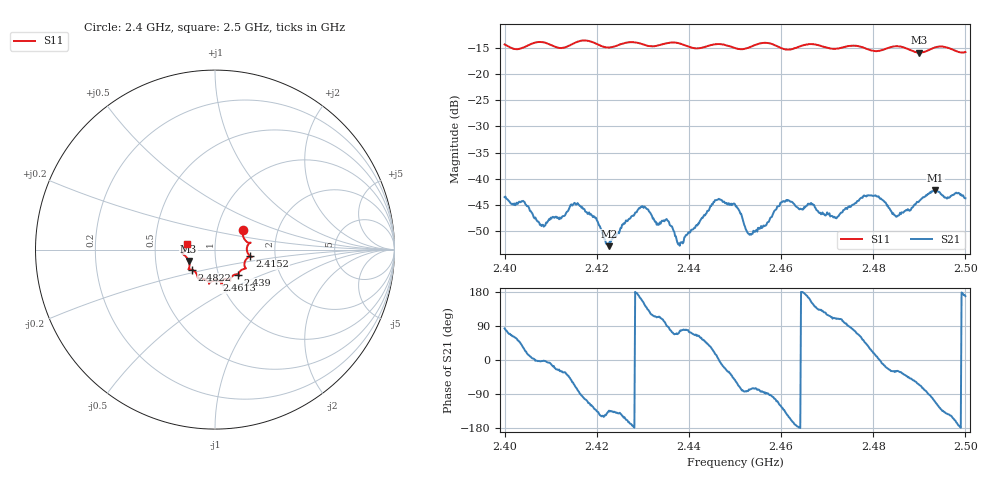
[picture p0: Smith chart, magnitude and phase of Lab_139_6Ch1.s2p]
# Hz S RI R 50
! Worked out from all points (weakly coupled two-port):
!   601 points, 2.4 GHz to 2.5 GHz, reference 50 ohm
!   highest |S21| = -42.12 dB at 2.4935 GHz (marker M1); lowest = -52.9 dB at 2.4227 GHz (marker M2)
!   lowest |S11| = -15.9 dB at 2.49 GHz (marker M3), VSWR 1.38, Z = 36.9 - j4.81 ohm
!   |S11| at or under -10 dB: start of sweep to end of sweep
!   S12 and S22 are empty: the file has one direction only
!   S11 on the Smith chart (normalised r, x): 2.4 GHz: 1.33, +0.31; 2.4152 GHz: 1.48, -0.11; 2.439 GHz: 1.24, -0.36; 2.4613 GHz: 0.96, -0.34; 2.4822 GHz: 0.75, -0.17; 2.5 GHz: 0.72, +0.05
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2.4e9  0.1562 0.1114  0.000786 0.00664  0 0  0 0
2.404167e9  0.1738 0.0465  0.00522 0.00308  0 0  0 0
2.408167e9  0.1979 0.0392  0.00363 -0.000172  0 0  0 0
2.415167e9  0.1945 -0.0361  0.00238 -0.00539  0 0  0 0
2.416667e9  0.2042 -0.0418  -0.000331 -0.0053  0 0  0 0
2.422667e9  0.1658 -0.0679  -0.00157 -0.00165  0 0  0 0
2.4295e9  0.1637 -0.1066  -0.00513 0.00157  0 0  0 0
2.433333e9  0.1328 -0.1325  -0.00143 0.00334  0 0  0 0
2.439e9  0.1282 -0.1392  0.000491 0.00271  0 0  0 0
2.445833e9  0.0847 -0.1732  0.00607 0.00153  0 0  0 0
2.45e9  0.0688 -0.1632  0.00346 -0.00455  0 0  0 0
2.453333e9  0.0372 -0.1775  0.000648 -0.00291  0 0  0 0
2.461333e9  0.00789 -0.1709  -0.00504 -0.00353  0 0  0 0
2.466667e9  -0.0332 -0.1904  -0.00502 0.00281  0 0  0 0
2.471833e9  -0.0637 -0.1624  -0.00147 0.00402  0 0  0 0
2.478333e9  -0.0982 -0.1458  0.00485 0.00482  0 0  0 0
2.482167e9  -0.1288 -0.1119  0.00609 -0.00119  0 0  0 0
2.483333e9  -0.14 -0.1103  0.00481 -0.00219  0 0  0 0
2.485167e9  -0.1478 -0.1102  0.00384 -0.00209  0 0  0 0
2.49e9  -0.1471 -0.0634  0.00252 -0.00561  0 0  0 0
2.4935e9  -0.1783 -0.0252  -0.00292 -0.00727  0 0  0 0
2.5e9  -0.1586 0.0339  -0.00639 0.0013  0 0  0 0
